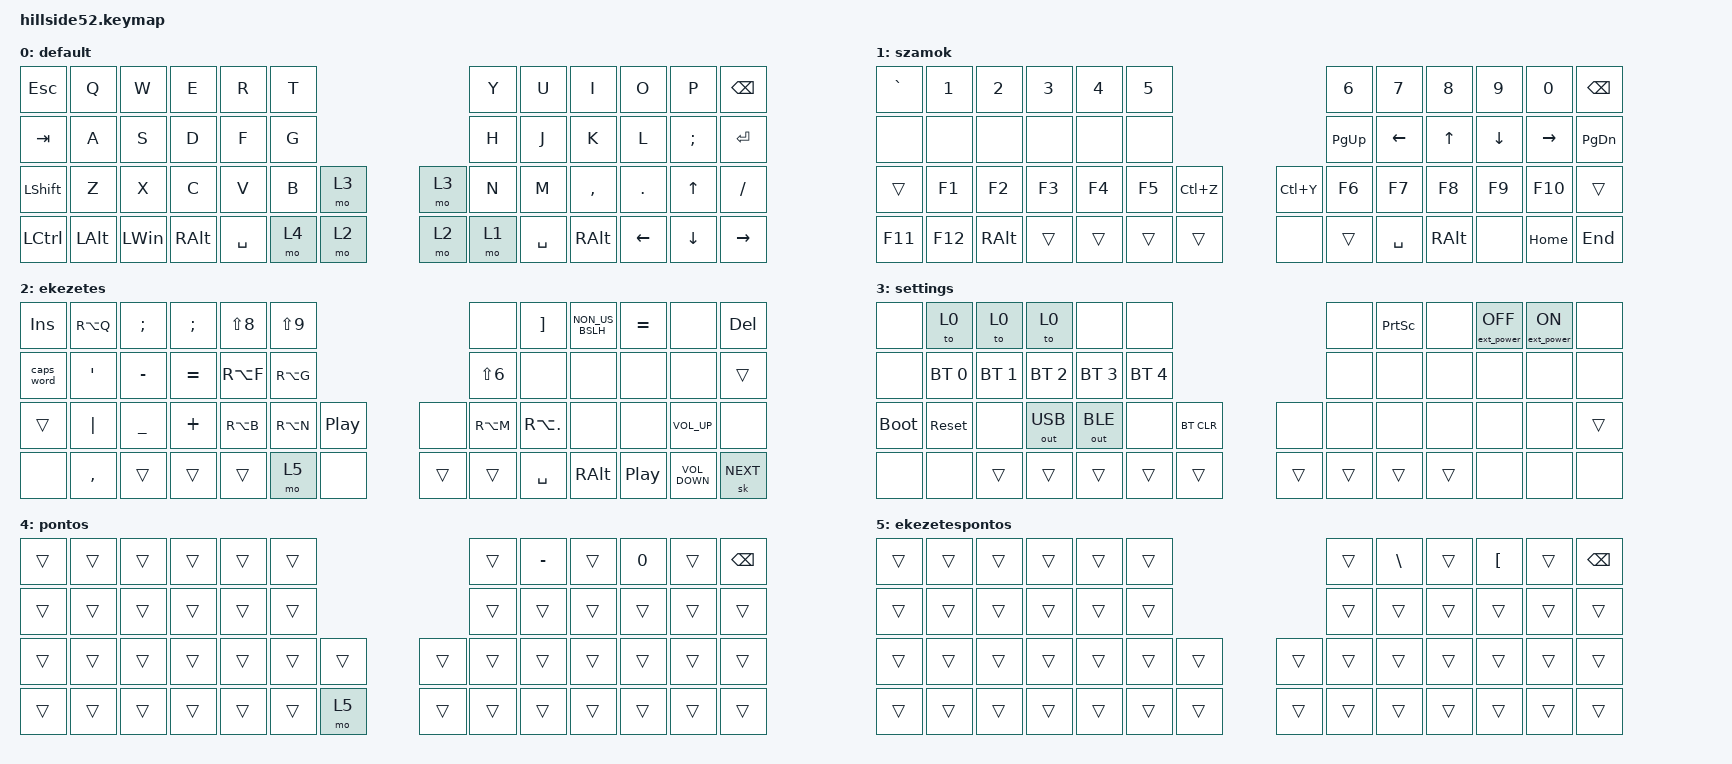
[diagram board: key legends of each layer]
/*
 * Copyright (c) 2021-2022 The ZMK Contributors
 *
 * SPDX-License-Identifier: MIT
 */

#define QWERTY_L 0
#define DVORAK_L 1
#define COLEMK_L 2
#define NAV_L    3
#define SYM_L    4
#define ADJ_L    5
#define Undo   LC(Z)
#define Cut    LC(X)
#define Copy   LC(C)
#define Paste  LC(V)
#define Redo   LC(Y)
#define MOUSE_KEYS 11
#define MOUSE_TP 12
#define MOUSE_SET 13
#define HAS_UROB
#define HAS_MOUSE_KEYS
#define HAS_MOUSE_TP

#include <behaviors.dtsi>
#include <dt-bindings/zmk/bt.h>
#include <dt-bindings/zmk/ext_power.h>
#include <dt-bindings/zmk/keys.h>
#include <dt-bindings/zmk/outputs.h>

/ {
    keymap {
        compatible = "zmk,keymap";

        default {
            /* QWERTY
 * -------------------------------------------------------------------------------------------------------------------------------------
 * | `     |   Q   |   W   |   E   |   R   |   T   |-----------------------------------|   Y   |   U   |   I   |   O   |   P   | BKSPC |
 * | TAB   |   A   |   S   |   D   |   F   |   G   |-----------------------------------|   H   |   J   |   K   |   L   |   ;   | ENTER |
 * | SHIFT |   Z   |   X   |   C   |   V   |   B   |   '   |-------------------|   /   |   N   |   M   |   ,   |   .   |  Up   | SHIFT |
 * | Mute  |  ESC  | CTRL  |-------|  GUI  |  ALT  |SK SHFT|  Nav  |---|  Sym  | SPACE |  ALT  |  GUI  |-------| Left  | Down  | Right |
 */

            bindings = <
&kp ESC    &kp Q     &kp W         &kp E  &kp R     &kp T                                  &kp Y      &kp U     &kp I      &kp O     &kp P           &kp BSPC
&kp TAB    &kp A     &kp S         &kp D  &kp F     &kp G                                  &kp H      &kp J     &kp K      &kp L     &kp SEMI        &kp ENTER
&kp LSHFT  &kp Z     &kp X         &kp C  &kp V     &kp B      &mo 3                &mo 3  &kp N      &kp M     &kp COMMA  &kp DOT   &kp UP          &kp FSLH
&kp LCTRL  &kp LALT  &kp LEFT_WIN         &kp RALT  &kp SPACE  &mo 4  &mo 2  &mo 2  &mo 1  &kp SPACE  &kp RALT             &kp LEFT  &kp DOWN_ARROW  &kp RIGHT
            >;
        };

        szamok {
            /* NAV
 * -------------------------------------------------------------------------------------------------------------------------------------
 * | Copy  |   1   |   2   |   3   |   4   |   5   |-----------------------------------|   6   |   7   |   8   |   9   |   0   | BSPC  |
 * | Cut   |  GUI  |  Alt  | Ctrl  | Shift | Paste |-----------------------------------| PG UP |  Left |  Up   |  Down | Right | PG DN |
 * | Shift |  F1   |  F2   |  F3   |  F4   |  F5   |  UnDo |-------------------| ReDo  |  F6   |  F7   |  F8   |  F9   |  F10  | Shift |
 * | F11   |  F12  |       |-------|       |       |       |       |---| ADJ_L |       |       |       |-------| CTRL  | HOME  |  END  |
 */

            bindings = <
&kp GRAVE  &kp N1   &kp N2    &kp N3  &kp N4  &kp N5                                     &kp N6     &kp N7    &kp N8  &kp N9    &kp N0     &kp BACKSPACE
&none      &none    &none     &none   &none   &none                                      &kp PG_UP  &kp LEFT  &kp UP  &kp DOWN  &kp RIGHT  &kp PG_DN
&trans     &kp F1   &kp F2    &kp F3  &kp F4  &kp F5  &kp Undo                 &kp Redo  &kp F6     &kp F7    &kp F8  &kp F9    &kp F10    &trans
&kp F11    &kp F12  &kp RALT          &trans  &trans  &trans    &trans  &none  &trans    &kp SPACE  &kp RALT          &none     &kp HOME   &kp END
            >;
        };

        ekezetes {
            /* SYM
 * -------------------------------------------------------------------------------------------------------------------------------------
 * | INS   |   !   |   @   |   #   |   $   |   %   |-----------------------------------|   ^   |   &   |   *   |   (   |   )   | DELETE|
 * | CAPS  |   \   |   -   |   =   |   [   |   ]   |-----------------------------------| Vol+  | Shift | Ctrl  | Alt   | Gui   | ENTER |
 * | Shift |   |   |   _   |   +   |   {   |   }   | Play  |-------------------| Mute  | Vol-  |  N0   |  N1   |  N2   |       | SHIFT |
 * |       |       |       |-------|       |       |       |  ADJ_L |---|      |       |       |       |-------| CTRL  | MENU  |SkAltGr|
 */

            bindings = <
&kp INS     &kp RA(Q)         &kp SEMICOLON  &kp SEMI   &kp LS(N8)  &kp LS(N9)                                   &none             &kp RIGHT_BRACKET  &kp NON_US_BSLH  &kp EQUAL  &none              &kp DELETE
&caps_word  &kp SINGLE_QUOTE  &kp MINUS      &kp EQUAL  &kp RA(F)   &kp RA(G)                                    &kp LS(NUMBER_6)  &none              &none            &none      &none              &trans
&trans      &kp PIPE          &kp UNDER      &kp PLUS   &kp RA(B)   &kp RA(N)   &kp C_PP                 &none   &kp RA(M)         &kp RA(PERIOD)     &none            &none      &kp C_VOLUME_UP    &none
&none       &kp COMMA         &trans                    &trans      &trans      &mo 5     &none  &trans  &trans  &kp SPACE         &kp RALT                            &kp C_PP   &kp C_VOLUME_DOWN  &sk C_NEXT
            >;
        };

        settings {
            /* ADJUST
 * -------------------------------------------------------------------------------------------------------------------------------------
 * |       | QWERTY| DVORAK| COLEMK|       |       |-----------------------------------|       |Prt Scr|       | EP_OFF| EP_ON |       |
 * |       | BT 0  | BT 1  | BT 2  | BT 3  | BT 4  |-----------------------------------|       |       |       |       |       |       |
 * | BOOTL | RESET |       |OUT_USB|OUT_BLE|       |BT CLR |-------------------|       |       |       |       |       |       | SHIFT |
 * ----------------|       |-------|       |       |       |       |---|       |       |       |       |-------| CTRL  |----------------
 */

            bindings = <
&none        &to 0         &to 0         &to 0         &none         &none                                             &none   &kp PRINTSCREEN  &none  &ext_power EP_OFF  &ext_power EP_ON  &none
&none        &bt BT_SEL 0  &bt BT_SEL 1  &bt BT_SEL 2  &bt BT_SEL 3  &bt BT_SEL 4                                      &none   &none            &none  &none              &none             &none
&bootloader  &sys_reset    &none         &out OUT_USB  &out OUT_BLE  &none         &bt BT_CLR                  &none   &none   &none            &none  &none              &none             &trans
&none        &none         &trans                      &trans        &trans        &trans      &trans  &trans  &trans  &trans  &trans                  &none              &none             &none
            >;
        };

        pontos {
            bindings = <
&trans  &trans  &trans  &trans  &trans  &trans                                 &trans  &kp MINUS  &trans  &kp N0  &trans  &kp BACKSPACE
&trans  &trans  &trans  &trans  &trans  &trans                                 &trans  &trans     &trans  &trans  &trans  &trans
&trans  &trans  &trans  &trans  &trans  &trans  &trans                 &trans  &trans  &trans     &trans  &trans  &trans  &trans
&trans  &trans  &trans          &trans  &trans  &trans  &mo 5  &trans  &trans  &trans  &trans             &trans  &trans  &trans
            >;
        };

        ekezetespontos {
            bindings = <
&trans  &trans  &trans  &trans  &trans  &trans                                  &trans  &kp BACKSLASH  &trans  &kp LEFT_BRACKET  &trans  &kp BACKSPACE
&trans  &trans  &trans  &trans  &trans  &trans                                  &trans  &trans         &trans  &trans            &trans  &trans
&trans  &trans  &trans  &trans  &trans  &trans  &trans                  &trans  &trans  &trans         &trans  &trans            &trans  &trans
&trans  &trans  &trans          &trans  &trans  &trans  &trans  &trans  &trans  &trans  &trans                 &trans            &trans  &trans
            >;
        };
    };
};
